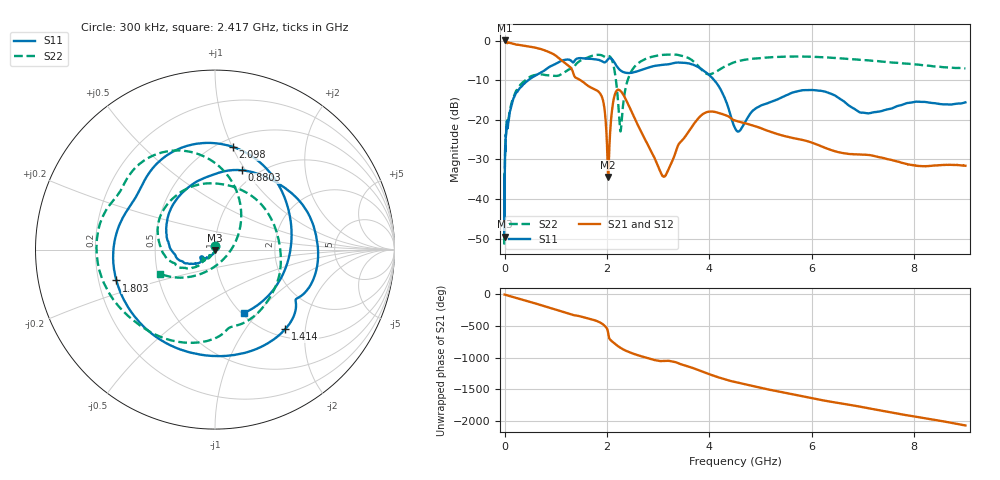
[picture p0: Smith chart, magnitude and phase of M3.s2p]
# Hz S DB R 50
! CMT, C1420, 19038819, 22.4.2/3
! Date: 2023-03-14 09:48:15
! Data: Format (Calibration Info)
! Freq	S11:dB/Ang(F2)	S21:dB/Ang(F2)	S12:dB/Ang(F2)	S22:dB/Ang(F2)
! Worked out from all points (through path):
!   9001 points, 300 kHz to 9 GHz, reference 50 ohm
!   highest |S21| = 0.02 dB at 300 kHz (marker M1); lowest = -34.5 dB at 2.023 GHz (marker M2)
!   lowest |S11| = -49.5 dB at 1.3 MHz (marker M3), VSWR 1.01, Z = 49.8 - j0.292 ohm
!   |S11| at or under -10 dB: start of sweep to 464.1 MHz; 4.094 GHz to end of sweep
!   |S22| runs from -51.9 to -3.5 dB; largest |S21 - S12| = 0.0025
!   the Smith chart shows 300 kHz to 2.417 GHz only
!   S11 on the Smith chart (normalised r, x): 300 kHz: 1.00, +0.04; 880.3 MHz: 0.85, +0.96; 1.414 GHz: 1.15, -1.56; 1.803 GHz: 0.28, -0.14; 2.098 GHz: 0.58, +1.00; 2.417 GHz: 1.02, -0.85
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300000  -34.59 94.5  0.02 -1.4  0.01 -1.5  -33.57 90.4
1299967  -49.53 -118.6  -0.03 -1.1  -0.03 -1.1  -51.92 -117.1
1.382954e8  -16.24 -149.8  -0.70 -34.4  -0.70 -34.4  -15.78 -141.6
4.032866e8  -10.66 157.9  -1.36 -95.0  -1.37 -95.1  -10.08 172.5
6.572781e8  -8.43 112.1  -1.99 -154.9  -2.00 -155.0  -8.56 120.0
8.802707e8  -6.62 71.5  -2.99 150.5  -2.99 150.4  -8.81 60.5
1.098263e9  -5.17 25.1  -4.84 96.1  -4.81 96.0  -8.57 -10.4
1.414253e9  -4.56 -48.6  -9.55 25.5  -9.52 25.4  -5.71 -97.4
1.50025e9  -4.45 -73.2  -10.15 9.2  -10.12 9.0  -4.94 -118.4
1.80324e9  -4.80 -162.6  -12.61 -60.0  -12.58 -60.2  -3.61 -178.2
1.925236e9  -5.42 155.7  -15.30 -114.2  -15.28 -114.4  -3.92 156.8
2.023233e9  -4.68 121.3  -34.47 101.9  -34.51 101.6  -3.94 136.1
2.09823e9  -4.72 80.2  -17.59 -20.3  -17.57 -20.6  -4.95 105.0
2.263225e9  -7.54 -0.6  -12.70 -122.5  -12.67 -122.8  -22.95 -42.9
2.417219e9  -8.21 -65.6  -16.18 174.6  -16.15 174.4  -9.50 -156.4
3.0002e9  -6.25 149.3  -31.82 32.0  -31.68 32.1  -3.76 128.0
3.387187e9  -5.56 91.4  -26.51 -3.4  -26.43 -3.8  -3.64 93.9
3.774174e9  -6.65 36.0  -19.78 -109.9  -19.74 -110.3  -6.33 63.5
4.50015e9  -22.12 -14.1  -20.19 58.4  -20.19 58.2  -5.44 64.0
6.0001e9  -12.49 -31.4  -25.78 162.5  -25.81 162.6  -4.12 -6.5
7.50005e9  -17.33 -83.9  -30.00 -56.5  -29.96 -56.5  -5.44 -67.4
9e9  -15.61 -156.5  -31.62 91.7  -31.65 91.4  -7.03 -122.8
